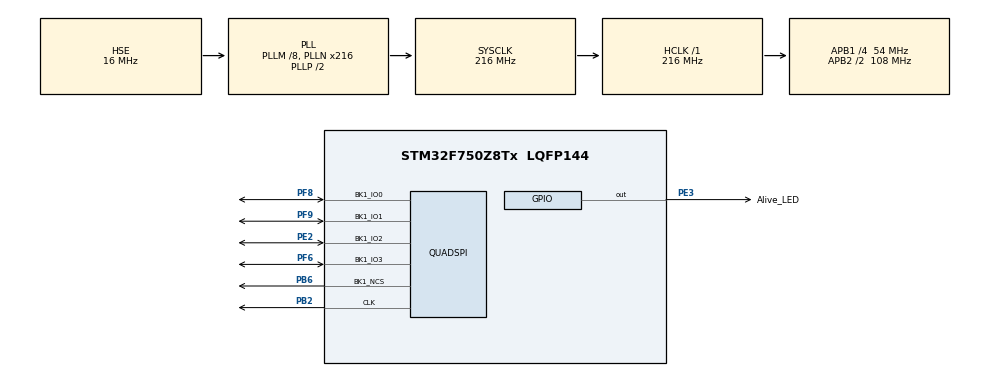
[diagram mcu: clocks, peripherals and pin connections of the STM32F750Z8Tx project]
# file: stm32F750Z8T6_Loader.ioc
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Mcu.Family=STM32F7
Mcu.Name=STM32F750Z8Tx
Mcu.Package=LQFP144
NVIC.PriorityGroup=NVIC_PRIORITYGROUP_4
PB2.Mode=Single Bank 1
PB2.Signal=QUADSPI_CLK
PB6.Mode=Single Bank 1
PB6.Signal=QUADSPI_BK1_NCS
PE2.Mode=Single Bank 1
PE2.Signal=QUADSPI_BK1_IO2
PE3.GPIO_Label=Alive_LED
PE3.Signal=GPIO_Output
PF6.Mode=Single Bank 1
PF6.Signal=QUADSPI_BK1_IO3
PF8.Mode=Single Bank 1
PF8.Signal=QUADSPI_BK1_IO0
PF9.Mode=Single Bank 1
PF9.Signal=QUADSPI_BK1_IO1
PH0/OSC_IN.Mode=HSE-External-Oscillator
PH0/OSC_IN.Signal=RCC_OSC_IN
PH1/OSC_OUT.Mode=HSE-External-Oscillator
PH1/OSC_OUT.Signal=RCC_OSC_OUT
ProjectManager.HeapSize=0x200
ProjectManager.StackSize=0x400
ProjectManager.TargetToolchain=STM32CubeIDE
QUADSPI.ClockPrescaler=2
QUADSPI.FifoThreshold=4
QUADSPI.FlashSize=23
RCC.AHBFreq_Value=216000000
RCC.APB1CLKDivider=RCC_HCLK_DIV4
RCC.APB1Freq_Value=54000000
RCC.APB1TimFreq_Value=108000000
RCC.APB2CLKDivider=RCC_HCLK_DIV2
RCC.APB2Freq_Value=108000000
RCC.APB2TimFreq_Value=216000000
RCC.CortexFreq_Value=216000000
RCC.HCLKFreq_Value=216000000
RCC.HSE_VALUE=16000000
RCC.HSI_VALUE=16000000
RCC.LSE_VALUE=32768
RCC.PLLM=8
RCC.PLLN=216
RCC.PLLSourceVirtual=RCC_PLLSOURCE_HSE
RCC.SYSCLKFreq_VALUE=216000000
RCC.SYSCLKSource=RCC_SYSCLKSOURCE_PLLCLK
RCC.USBFreq_Value=216000000
RCC.VCOOutputFreq_Value=432000000
board=custom

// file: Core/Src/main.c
/* USER CODE BEGIN Header */
/**
  ******************************************************************************
  * @file           : main.c
  * @brief          : Main program body
  ******************************************************************************
  * @attention
  *
  * Copyright (c) 2023 STMicroelectronics.
  * All rights reserved.
  *
  * This software is licensed under terms that can be found in the LICENSE file
  * in the root directory of this software component.
  * If no LICENSE file comes with this software, it is provided AS-IS.
  *
  ******************************************************************************
  */
/* USER CODE END Header */
#include "main.h"
#include "quadspi.h"
#include "gpio.h"

/* USER CODE BEGIN Includes */
#include "quadspi.h"
#include "stdlib.h"
#include "string.h"
/* USER CODE END Includes */

/* USER CODE BEGIN PD */
#define SECTORS_TO_CHECK 		100	// full memory

/* USER CODE END PD */

/* USER CODE BEGIN PV */
//uint8_t *writebuf = "Hello world from QSPI !";
//uint8_t readbuf[100];
//uint16_t number = 1234;
//uint8_t buf[5];

uint8_t buffer_test[MEMORY_SECTOR_SIZE];
uint8_t buffer_Read[MEMORY_SECTOR_SIZE];
uint32_t var, var2, value;
uint32_t ReadAddress;

//QSPI_CommandTypeDef sCommand;

/************************ FOR EXT MEM BOOT **********************/

typedef  void (*pFunction)(void);
pFunction JumpToApplication;

#define APPLICATION_ADDRESS 0x90000000

/* USER CODE END PV */

void SystemClock_Config(void);

/* USER CODE BEGIN 0 */
uint8_t CSP_QUADSPI_Init(void);
/* USER CODE END 0 */

int main(void)
{

  /* MCU Configuration--------------------------------------------------------*/

  /* Reset of all peripherals, Initializes the Flash interface and the Systick. */
  HAL_Init();

  /* Configure the system clock */
  SystemClock_Config();

  /* Initialize all configured peripherals */
  MX_GPIO_Init();
  MX_QUADSPI_Init();
  /* USER CODE BEGIN 2 */

  CSP_QUADSPI_Init();

#ifdef TEST_JUMP
  /****************** FOR SIMPLE WRITE READ ********************/
  	// Comment out these if you are using the EXT MEM BOOT

//    if (CSP_QSPI_Erase_Chip() != HAL_OK)
//    {
//  	  Error_Handler();
//    }
//
//    if (CSP_QSPI_WriteMemory(writebuf, 0, strlen (writebuf)) != HAL_OK)
//    {
//  	  Error_Handler();
//    }

    /***********************  FOR EXT MEM BOOT *************************/
    	// Comment out these if you are using the simple Read Write

      if (CSP_QSPI_EnableMemoryMappedMode() != HAL_OK)
      {
    	  Error_Handler();
      }

    //  memcpy(readbuf,(uint8_t *) APPLICATION_ADDRESS, 30);

      // Disable the cache
 //     SCB_DisableDCache();
 //     SCB_DisableICache();

//      // Disable the systick interrupt
 //     SysTick->CTRL = 0;

 //     /* Initialize user application's Stack Pointer & Jump to user application */
 //     JumpToApplication = (pFunction) (*(__IO uint32_t*) (APPLICATION_ADDRESS + 4));  // Reset Handler
//      __set_MSP(*(__IO uint32_t*) APPLICATION_ADDRESS);   // stack pointer
 //     JumpToApplication();	  // make the jump
#endif

#ifdef HW_TEST
  	for (var = 0; var < MEMORY_SECTOR_SIZE; var++)
  		buffer_test[var] = (var & 0xff);

//  	if (CSP_QSPI_Erase_Chip() != HAL_OK)
//  		{
//			Error_Handler();  //breakpoint - error detected
//  	    }
//
//
  	for (var = 0; var < SECTORS_TO_CHECK; var++)
  		{
  		if (CSP_QSPI_EraseSector(var * MEMORY_SECTOR_SIZE,(var + 1) * MEMORY_SECTOR_SIZE - 1) != HAL_OK)
  			{
  			Error_Handler();  //breakpoint - error detected
  			}

  		if (CSP_QSPI_WriteMemory(buffer_test, var * MEMORY_SECTOR_SIZE,	sizeof(buffer_test)) != HAL_OK)
  			{
  			Error_Handler();  //breakpoint - error detected
  			}
  		}

  	if (CSP_QSPI_EnableMemoryMappedMode() != HAL_OK)
  		{
  		Error_Handler(); //breakpoint - error detected
  		}

  	for (var = 0; var < SECTORS_TO_CHECK; var++)
  		{
  		ReadAddress = (QSPI_BASE + (var * MEMORY_SECTOR_SIZE));
  		if (memcmp(buffer_test, (uint8_t*) (QSPI_BASE + (var * MEMORY_SECTOR_SIZE)) , MEMORY_SECTOR_SIZE) != HAL_OK)
  			{
  			for (var2 = 0; var2 < MEMORY_SECTOR_SIZE; var2++)
  				{
  				buffer_Read[var2] = *(uint32_t*) ReadAddress;
  				ReadAddress++;

  				if (buffer_Read[var2] != buffer_test[var2])
  					Error_Handler();  //breakpoint - error detected - otherwise QSPI works properly
  				}
  			}
  		}

#endif

  /* USER CODE END 2 */

  /* Infinite loop */
  while (1)
  {

  }
}

void SystemClock_Config(void)
{
  RCC_OscInitTypeDef RCC_OscInitStruct = {0};
  RCC_ClkInitTypeDef RCC_ClkInitStruct = {0};

  /** Configure the main internal regulator output voltage
  */
  __HAL_RCC_PWR_CLK_ENABLE();
  __HAL_PWR_VOLTAGESCALING_CONFIG(PWR_REGULATOR_VOLTAGE_SCALE1);

  /** Initializes the RCC Oscillators according to the specified parameters
  * in the RCC_OscInitTypeDef structure.
  */
  RCC_OscInitStruct.OscillatorType = RCC_OSCILLATORTYPE_HSE;
  RCC_OscInitStruct.HSEState = RCC_HSE_ON;
  RCC_OscInitStruct.PLL.PLLState = RCC_PLL_ON;
  RCC_OscInitStruct.PLL.PLLSource = RCC_PLLSOURCE_HSE;
  RCC_OscInitStruct.PLL.PLLM = 8;
  RCC_OscInitStruct.PLL.PLLN = 216;
  RCC_OscInitStruct.PLL.PLLP = RCC_PLLP_DIV2;
  RCC_OscInitStruct.PLL.PLLQ = 2;
  if (HAL_RCC_OscConfig(&RCC_OscInitStruct) != HAL_OK)
  {
    Error_Handler();
  }

  /** Activate the Over-Drive mode
  */
  if (HAL_PWREx_EnableOverDrive() != HAL_OK)
  {
    Error_Handler();
  }

  /** Initializes the CPU, AHB and APB buses clocks
  */
  RCC_ClkInitStruct.ClockType = RCC_CLOCKTYPE_HCLK|RCC_CLOCKTYPE_SYSCLK
                              |RCC_CLOCKTYPE_PCLK1|RCC_CLOCKTYPE_PCLK2;
  RCC_ClkInitStruct.SYSCLKSource = RCC_SYSCLKSOURCE_PLLCLK;
  RCC_ClkInitStruct.AHBCLKDivider = RCC_SYSCLK_DIV1;
  RCC_ClkInitStruct.APB1CLKDivider = RCC_HCLK_DIV4;
  RCC_ClkInitStruct.APB2CLKDivider = RCC_HCLK_DIV2;

  if (HAL_RCC_ClockConfig(&RCC_ClkInitStruct, FLASH_LATENCY_7) != HAL_OK)
  {
    Error_Handler();
  }
}

void Error_Handler(void)
{
  __disable_irq();
  while (1)
  {
  }
}
